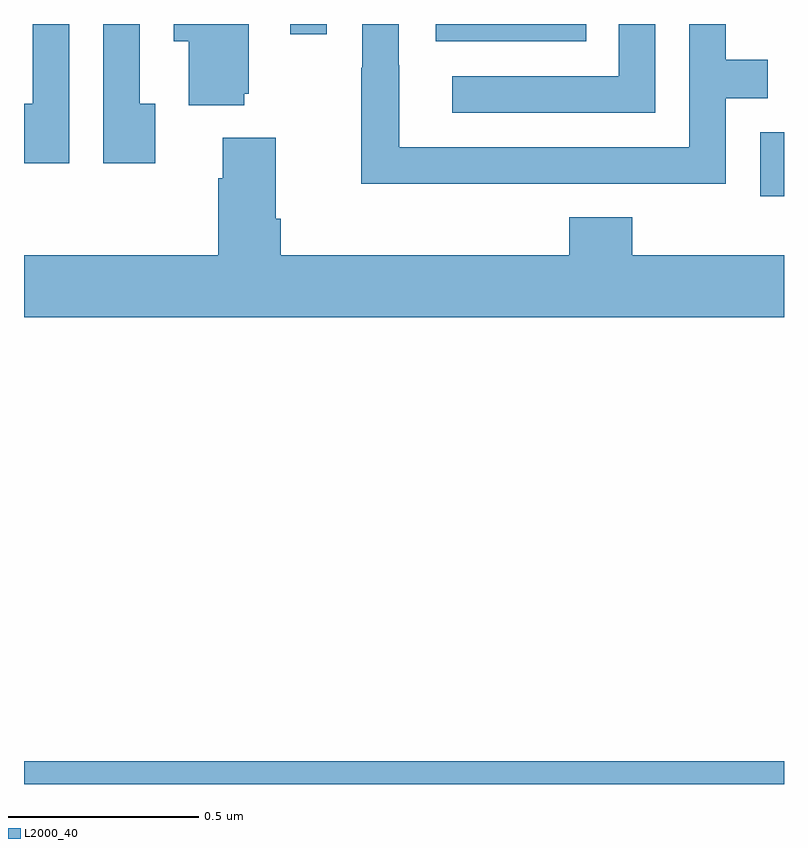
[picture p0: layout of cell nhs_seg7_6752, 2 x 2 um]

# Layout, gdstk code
import gdstk
lib = gdstk.Library(unit=1e-6, precision=1e-09)
def R(c, l, rs):  # rectangles x0, y0, x1, y1
    for r in rs: c.add(gdstk.rectangle(r[:2], r[2:], *l))
def P(c, l, *ps):  # polygons
    for p in ps: c.add(gdstk.Polygon(p, *l))
L2000_40 = (2000, 40)

nhs_seg7_6752 = lib.new_cell('nhs_seg7_6752')
R(nhs_seg7_6752, L2000_40, [(202,1054,204,1054.06), (203.937,1055.547,204,1055.715), (203.084,1055.954,203.48,1056), (202.701,1055.973,202.797,1056)])
P(nhs_seg7_6752, L2000_40, [(202.345,1055.79),(202.305,1055.79),(202.305,1056),(202.209,1056),(202.209,1055.634),(202.345,1055.634)],
  [(202.119,1056),(202.023,1056),(202.023,1055.79),(202,1055.79),(202,1055.634),(202.119,1055.634)],
  [(203.351,1055.58),(203.847,1055.58),(203.847,1055.805),(203.957,1055.805),(203.957,1055.906),(203.847,1055.906),(203.847,1056),(203.751,1056),(203.751,1055.676),(202.987,1055.676),(202.987,1055.891),(202.986,1055.891),(202.986,1056),(202.89,1056),(202.89,1055.885),(202.888,1055.885),(202.888,1055.579),(203.351,1055.579)],
  [(203.661,1056),(203.565,1056),(203.565,1055.862),(203.127,1055.862),(203.127,1055.766),(203.661,1055.766)],
  [(202.58,1055.817),(202.591,1055.817),(202.591,1056),(202.394,1056),(202.394,1055.954),(202.433,1055.954),(202.433,1055.786),(202.58,1055.786)],
  [(204,1055.392),(203.6,1055.392),(203.6,1055.491),(203.435,1055.491),(203.435,1055.392),(202.676,1055.392),(202.676,1055.488),(202.663,1055.488),(202.663,1055.701),(202.523,1055.701),(202.523,1055.594),(202.511,1055.594),(202.511,1055.392),(202,1055.392),(202,1055.228),(204,1055.228)])

lib.write_gds('nhs_seg7_6752.gds')
